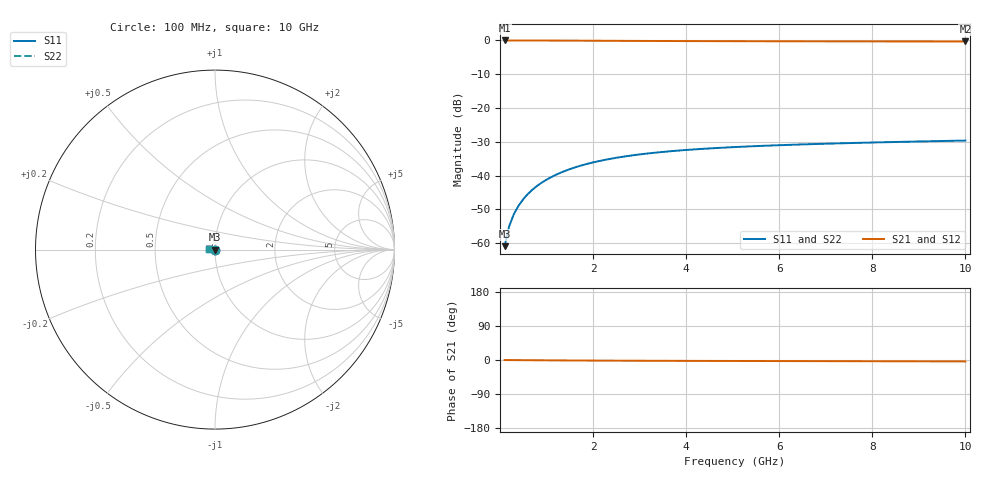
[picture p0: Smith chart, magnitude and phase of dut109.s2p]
! Touchstone file exported from HFSS 2024.1.0
!  File:  C:/UserFiles/LocalFiles/RDL_TSV_Batchsim/temp_TSV1_109_1779377754.aedt
!  Generated:  11:41:04 PM May 21, 2026
!  Design:  TSV1
!  Project:  temp_TSV1_109_1779377754
!  Setup:  Setup1
!  Solution:  Sweep
! Variables:
!  dtsv = 10.89um
!  hbump = 3um
!  htsv = 54.85um
!  lrdl = 252.1521522um
!  p = 40
!  p1 = 52.87um
!  t = 500um
!  trdl = 3um
!  wrdl = 24.89489489um
# GHz S MA R 50.000000
! Terminal data exported
! Port[1] = TSV22_T1
! Port[2] = TSV22_T2
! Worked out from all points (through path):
!   100 points, 100 MHz to 10 GHz, reference 50 ohm
!   highest |S21| = 0.00 dB at 100 MHz (marker M1); lowest = -0.3 dB at 10 GHz (marker M2)
!   lowest |S11| = -60.9 dB at 100 MHz (marker M3), VSWR 1.00, Z = 50 - j0.0898 ohm
!   |S11| at or under -10 dB: start of sweep to end of sweep
!   |S22| runs from -60.9 to -29.6 dB; largest |S21 - S12| = 5.5e-15
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0.1  0.0009002 -85.7  0.9999 -0.1  0.9999 -0.1  0.0009002 -85.7
! Gamma 0 0 0 0
! Port Impedance 50 0 50 0
0.2  0.001794 -90.6  0.9998 -0.2  0.9998 -0.2  0.001794 -90.6
0.3  0.002689 -93.5  0.9996 -0.3  0.9996 -0.3  0.002689 -93.5
0.4  0.003579 -95.9  0.9994 -0.4  0.9994 -0.4  0.003579 -95.9
0.5  0.004463 -98.1  0.9991 -0.5  0.9991 -0.5  0.004463 -98.1
0.6  0.005335 -100.3  0.9988 -0.5  0.9988 -0.5  0.005335 -100.3
0.7  0.006195 -102.3  0.9984 -0.6  0.9984 -0.6  0.006195 -102.3
0.8  0.00704 -104.3  0.9979 -0.7  0.9979 -0.7  0.00704 -104.3
0.9  0.007869 -106.3  0.9975 -0.8  0.9975 -0.8  0.007869 -106.3
1.1  0.009471 -110.0  0.9964 -1.0  0.9964 -1.0  0.009471 -110.0
1.4  0.01172 -115.4  0.9946 -1.2  0.9946 -1.2  0.01172 -115.4
1.6  0.01312 -118.8  0.9933 -1.3  0.9933 -1.3  0.01312 -118.8
1.8  0.01442 -122.0  0.992 -1.4  0.992 -1.4  0.01442 -122.0
2.1  0.01622 -126.6  0.99 -1.6  0.99 -1.6  0.01622 -126.6
2.5  0.01832 -132.2  0.9873 -1.8  0.9873 -1.8  0.01832 -132.2
2.9  0.02013 -137.4  0.9848 -1.9  0.9848 -1.9  0.02013 -137.4
3.4  0.02203 -143.1  0.982 -2.1  0.982 -2.1  0.02203 -143.1
4.2  0.02445 -151.1  0.9781 -2.4  0.9781 -2.4  0.02445 -151.1
5.1  0.02651 -158.7  0.9747 -2.6  0.9747 -2.6  0.02651 -158.7
6.7  0.02917 -169.5  0.9705 -3.0  0.9705 -3.0  0.02917 -169.5
8.4  0.03129 -178.7  0.9675 -3.4  0.9675 -3.4  0.03129 -178.7
10  0.03297 174.1  0.9656 -3.8  0.9656 -3.8  0.03297 174.1
